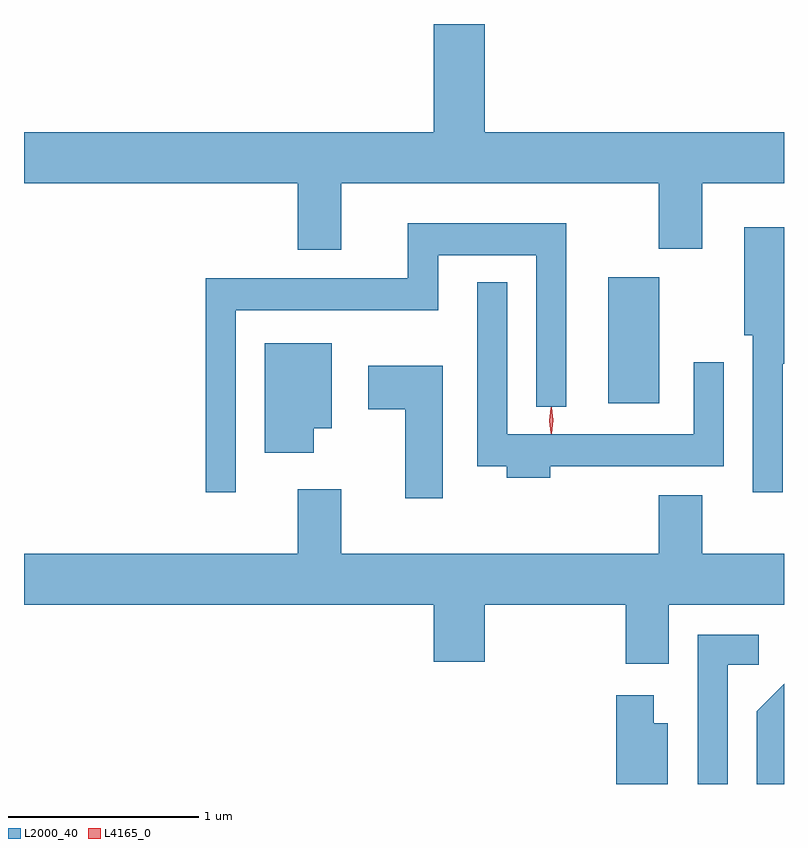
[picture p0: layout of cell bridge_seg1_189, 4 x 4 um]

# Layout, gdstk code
import gdstk
lib = gdstk.Library(unit=1e-6, precision=1e-09)
def R(c, l, rs):  # rectangles x0, y0, x1, y1
    for r in rs: c.add(gdstk.rectangle(r[:2], r[2:], *l))
def P(c, l, *ps):  # polygons
    for p in ps: c.add(gdstk.Polygon(p, *l))
L2000_40 = (2000, 40)
L4165_0 = (4165, 0)

bridge_seg1_189 = lib.new_cell('bridge_seg1_189')
R(bridge_seg1_189, L2000_40, [(795.416,931.716,795.684,932.379)])
P(bridge_seg1_189, L2000_40, [(794.009,932.876),(795.681,932.876),(795.681,932.531),(795.909,932.531),(795.909,932.876),(796.34,932.876),(796.34,933.144),(794.764,933.144),(794.764,933.713),(794.496,933.713),(794.496,933.144),(792.34,933.144),(792.34,932.876),(793.781,932.876),(793.781,932.526),(794.009,932.526)],
  [(793.454,932.206),(794.519,932.206),(794.519,932.496),(795.036,932.496),(795.036,931.698),(795.194,931.698),(795.194,932.664),(794.361,932.664),(794.361,932.374),(793.296,932.374),(793.296,931.248),(793.454,931.248)],
  [(796.334,931.926),(796.34,931.926),(796.34,932.644),(796.131,932.644),(796.131,932.076),(796.176,932.076),(796.176,931.248),(796.334,931.248)],
  [(795.109,931.386),(796.024,931.386),(796.024,931.933),(795.866,931.933),(795.866,931.554),(794.884,931.554),(794.884,932.353),(794.726,932.353),(794.726,931.386),(794.881,931.386),(794.881,931.326),(795.109,931.326)],
  [(793.864,931.586),(793.959,931.586),(793.959,932.034),(793.606,932.034),(793.606,931.456),(793.864,931.456)],
  [(794.544,931.914),(794.151,931.914),(794.151,931.686),(794.346,931.686),(794.346,931.216),(794.544,931.216)],
  [(795.734,930.656),(796.34,930.656),(796.34,930.924),(795.909,930.924),(795.909,931.234),(795.681,931.234),(795.681,930.924),(794.009,930.924),(794.009,931.264),(793.781,931.264),(793.781,930.924),(792.34,930.924),(792.34,930.656),(794.496,930.656),(794.496,930.356),(794.764,930.356),(794.764,930.656),(795.506,930.656),(795.506,930.346),(795.734,930.346)],
  [(796.044,930.341),(796.208,930.341),(796.208,930.499),(795.886,930.499),(795.886,929.713),(796.044,929.713)],
  [(796.34,930.241),(796.196,930.097),(796.196,929.713),(796.34,929.713)],
  [(795.729,930.034),(795.654,930.034),(795.654,930.179),(795.456,930.179),(795.456,929.713),(795.729,929.713)])
P(bridge_seg1_189, L4165_0, [(795.113,931.56),(795.104,931.626),(795.113,931.692),(795.114,931.693),(795.114,931.692),(795.124,931.626),(795.114,931.56),(795.114,931.56)],
  [(795.116,931.557),(795.116,931.557),(795.106,931.627),(795.116,931.696),(795.116,931.696),(795.117,931.696),(795.126,931.627),(795.117,931.557)])

lib.write_gds('bridge_seg1_189.gds')
